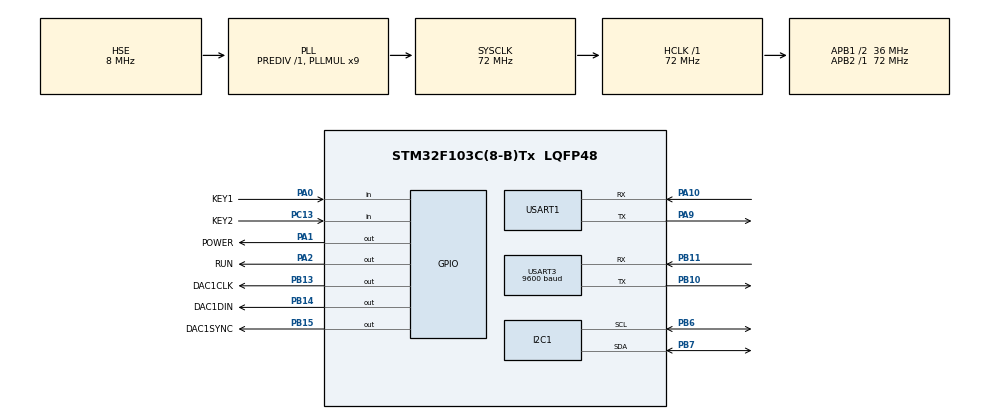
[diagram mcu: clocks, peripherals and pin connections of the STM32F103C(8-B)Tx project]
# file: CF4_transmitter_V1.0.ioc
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Mcu.Family=STM32F1
Mcu.Name=STM32F103C(8-B)Tx
Mcu.Package=LQFP48
NVIC.I2C1_ER_IRQn=true\:0\:0\:false\:false\:true\:true\:true\:true
NVIC.I2C1_EV_IRQn=true\:0\:0\:false\:false\:true\:true\:true\:true
NVIC.PriorityGroup=NVIC_PRIORITYGROUP_4
NVIC.USART1_IRQn=true\:0\:0\:false\:false\:true\:true\:true\:true
NVIC.USART3_IRQn=true\:0\:0\:false\:false\:true\:true\:true\:true
PA0-WKUP.GPIO_Label=KEY1
PA0-WKUP.GPIO_PuPd=GPIO_PULLUP
PA0-WKUP.Signal=GPIO_Input
PA1.GPIO_Label=POWER
PA1.GPIO_PuPd=GPIO_PULLDOWN
PA1.GPIO_Speed=GPIO_SPEED_FREQ_HIGH
PA1.PinState=GPIO_PIN_RESET
PA1.Signal=GPIO_Output
PA10.Mode=Asynchronous
PA10.Signal=USART1_RX
PA13.Mode=Serial_Wire
PA13.Signal=SYS_JTMS-SWDIO
PA14.Mode=Serial_Wire
PA14.Signal=SYS_JTCK-SWCLK
PA2.GPIO_Label=RUN
PA2.GPIO_PuPd=GPIO_PULLDOWN
PA2.GPIO_Speed=GPIO_SPEED_FREQ_HIGH
PA2.Signal=GPIO_Output
PA9.Mode=Asynchronous
PA9.Signal=USART1_TX
PB10.Mode=Asynchronous
PB10.Signal=USART3_TX
PB11.Mode=Asynchronous
PB11.Signal=USART3_RX
PB13.GPIO_Label=DAC1CLK
PB13.GPIO_Speed=GPIO_SPEED_FREQ_HIGH
PB13.PinState=GPIO_PIN_SET
PB13.Signal=GPIO_Output
PB14.GPIO_Label=DAC1DIN
PB14.GPIO_Speed=GPIO_SPEED_FREQ_HIGH
PB14.PinState=GPIO_PIN_SET
PB14.Signal=GPIO_Output
PB15.GPIO_Label=DAC1SYNC
PB15.GPIO_Speed=GPIO_SPEED_FREQ_HIGH
PB15.PinState=GPIO_PIN_SET
PB15.Signal=GPIO_Output
PB6.Mode=I2C
PB6.Signal=I2C1_SCL
PB7.Mode=I2C
PB7.Signal=I2C1_SDA
PC13-TAMPER-RTC.GPIO_Label=KEY2
PC13-TAMPER-RTC.GPIO_PuPd=GPIO_PULLUP
PC13-TAMPER-RTC.Signal=GPIO_Input
PD0-OSC_IN.Mode=HSE-External-Oscillator
PD0-OSC_IN.Signal=RCC_OSC_IN
PD1-OSC_OUT.Mode=HSE-External-Oscillator
PD1-OSC_OUT.Signal=RCC_OSC_OUT
ProjectManager.HeapSize=0x200
ProjectManager.StackSize=0x400
ProjectManager.TargetToolchain=MDK-ARM V5.32
RCC.AHBFreq_Value=72000000
RCC.APB1CLKDivider=RCC_HCLK_DIV2
RCC.APB1Freq_Value=36000000
RCC.APB1TimFreq_Value=72000000
RCC.APB2Freq_Value=72000000
RCC.APB2TimFreq_Value=72000000
RCC.HCLKFreq_Value=72000000
RCC.PLLMUL=RCC_PLL_MUL9
RCC.PLLSourceVirtual=RCC_PLLSOURCE_HSE
RCC.SYSCLKFreq_VALUE=72000000
RCC.SYSCLKSource=RCC_SYSCLKSOURCE_PLLCLK
RCC.USBFreq_Value=72000000
USART1.VirtualMode=VM_ASYNC
USART3.BaudRate=9600
USART3.VirtualMode=VM_ASYNC
board=custom

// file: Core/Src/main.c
/* USER CODE BEGIN Header */
/**
  ******************************************************************************
  * @file           : main.c
  * @brief          : 锟斤拷锟斤拷锟斤拷
  ******************************************************************************
  * @attention
  *
  * Copyright (c) 2025 STMicroelectronics.
  * All rights reserved.
  *
  * 锟斤拷锟斤拷锟绞癸拷玫锟斤拷锟斤拷锟斤拷锟斤拷锟斤拷诒锟斤拷锟斤拷锟斤拷锟斤拷母锟侥柯硷拷械锟絃ICENSE锟侥硷拷锟斤拷锟揭碉拷锟斤拷锟斤拷锟斤拷
  * 锟斤拷锟矫伙拷锟斤拷姹撅拷锟斤拷锟结供LICENSE锟侥硷拷锟斤拷锟斤拷"原锟斤拷"锟结供锟斤拷
  *
  ******************************************************************************
  */
/* USER CODE END Header */
#include "main.h"
#include "i2c.h"
#include "usart.h"
#include "gpio.h"

/* USER CODE BEGIN Includes */
#include <stdio.h>
#include <string.h>
#include "led.h"  // LED控制头文件
//#include "oled.h"  // OLED显示头文件（暂时禁用）
#include "sensor.h"  // 传感器相关头文件
#include "dac7311.h"  // DAC控制头文件
/* USER CODE END Includes */

/* USER CODE BEGIN PD */
#define SENSOR_UPDATE_INTERVAL   500       // 传感器数据更新间隔(ms)
#define DISPLAY_UPDATE_INTERVAL  1000      // 显示更新间隔(ms)
#define WARMUP_TIME              60000     // 预热时间(ms)，修改为60秒
#define DAC_VREF                 3.3f      // DAC参考电压（3.3V）
/* USER CODE END PD */

/* USER CODE BEGIN PV */
// 传感器相关变量
static SensorData_t sensorData = {0};       // 传感器数据结构体，初始化为0
static uint32_t lastSensorUpdateTime = 0;   // 上次传感器数据更新时间
//static uint32_t lastDisplayUpdateTime = 0;   // 上次显示更新时间（暂时禁用）

// 系统状态相关变量
static uint32_t warmupStartTime = 0;        // 预热开始时间
/* USER CODE END PV */

void SystemClock_Config(void);

/* USER CODE BEGIN PFP */
// 函数声明
//static void UpdateDisplay(SensorData_t *data);  // 显示更新函数声明（暂时禁用）
/* USER CODE END PFP */

int main(void)
{

  /* MCU Configuration--------------------------------------------------------*/
  HAL_Init();
  SystemClock_Config();

  /* Initialize all configured peripherals */
  MX_GPIO_Init();  // 初始化所有GPIO
  MX_I2C1_Init();  // 初始化I2C1
  MX_USART1_UART_Init();  // 初始化USART1，用于调试输出
  MX_USART3_UART_Init();  // 初始化USART3，用于传感器通信

  /* USER CODE BEGIN 2 */
  // 初始化LED
  LED_Init();  // 初始化LED控制模块
  LED_UpdateState(SYSTEM_INIT);  // 设置LED为初始化状态，LED1闪烁，LED2熄灭

  // 记录预热开始时间
  warmupStartTime = HAL_GetTick();  // 记录预热开始时间

  /* 注释掉OLED初始化相关代码 */

  // 初始化DAC7311
  printf("初始化DAC7311...\r\n");
  if (DAC7311_Init() != 0) {
    printf("DAC7311初始化失败!\r\n");
    LED_UpdateState(SYSTEM_ERROR);  // 错误状态：LED1闪烁，LED2熄灭
    while(1) {
      LED_UpdateState(SYSTEM_ERROR);
      HAL_Delay(10);
    }
  }
  printf("DAC7311初始化完成\r\n");

  // 初始化时设置DAC输出为0
  DAC7311_SetValue(0);

  // 初始化传感器
  printf("初始化传感器...\r\n");
  if (Sensor_Init() != 0) {
    printf("传感器初始化失败! 错误代码: %d\r\n", Sensor_GetLastError());
    LED_UpdateState(SYSTEM_ERROR);  // 错误状态：LED1闪烁，LED2熄灭
    while(1) {
      LED_UpdateState(SYSTEM_ERROR);
      HAL_Delay(10);
    }
  }
  printf("传感器初始化完成\r\n");

  // 在初始化阶段保持LED状态更新
  uint32_t currentTime = HAL_GetTick();
  printf("开始初始化阶段检查...\r\n");
  while(currentTime - warmupStartTime < 1000)
  {
    printf("检查传感器通信...\r\n");
    if (Sensor_CheckConnection() != 0)
    {
      printf("传感器通信失败!\r\n");
      LED_UpdateState(SYSTEM_ERROR);  // 错误状态：LED1闪烁，LED2熄灭
      while(1) {
        LED_UpdateState(SYSTEM_ERROR);
        HAL_Delay(10);
      }
    }
    printf("传感器通信正常\r\n");
    LED_UpdateState(SYSTEM_INIT);  // 初始化状态：LED1闪烁，LED2熄灭
    currentTime = HAL_GetTick();
    HAL_Delay(100);
  }
  printf("初始化阶段检查完成\r\n");

  // 进入预热阶段
  LED_UpdateState(SYSTEM_WARMUP);  // 预热状态：LED1常亮，LED2闪烁

  // 等待预热完成
  while(HAL_GetTick() - warmupStartTime < WARMUP_TIME) {
    LED_UpdateState(SYSTEM_WARMUP);  // 保持更新LED状态
    HAL_Delay(100);
  }

  // 预热完成，进入正常工作状态
  LED_UpdateState(SYSTEM_WORKING);  // 工作状态：LED1常亮，LED2由DAC更新控制
  printf("系统预热完成，开始正常工作\r\n");

  /* USER CODE END 2 */

  /* Infinite loop */
  while (1)
  {

    /* USER CODE BEGIN 3 */
    currentTime = HAL_GetTick();

    // 更新传感器数据
    if(currentTime - lastSensorUpdateTime >= SENSOR_UPDATE_INTERVAL)
    {
      // 更新所有传感器数据
      if(Sensor_UpdateAllData(&sensorData) != 0)
      {
        printf("传感器数据更新失败!\r\n");
        LED_UpdateState(SYSTEM_ERROR);  // 错误状态：LED1闪烁，LED2熄灭
      }
      else
      {
        LED_UpdateState(SYSTEM_WORKING);  // 工作状态：LED1常亮，LED2由DAC更新控制
        printf("[DAC] 当前输出值: %d\r\n", sensorData.outputValue);
      }

      lastSensorUpdateTime = currentTime;
    }

    HAL_Delay(10);  // 短暂延时，避免CPU占用过高
  }
  /* USER CODE END 3 */
}

/* 注释掉UpdateDisplay函数实现
static void UpdateDisplay(SensorData_t *data)
{
    if (data == NULL) {
        return;
    }

    OLED_Clear();
    char buf[32];

    sprintf(buf, "PPM:%d", data->concentration);
    OLED_ShowString(0, 0, buf);

    sprintf(buf, "DAC:%d", data->outputValue);
    OLED_ShowString(0, 2, buf);

    sprintf(buf, "V:%.2fV", data->outputVoltage);
    OLED_ShowString(0, 4, buf);

    sprintf(buf, "I:%.2fmA", data->outputCurrent);
    OLED_ShowString(0, 6, buf);

    OLED_Refresh();
}
*/

void SystemClock_Config(void)
{
  RCC_OscInitTypeDef RCC_OscInitStruct = {0};
  RCC_ClkInitTypeDef RCC_ClkInitStruct = {0};

  /** Initializes the RCC Oscillators according to the specified parameters
  * in the RCC_OscInitTypeDef structure.
  */
  RCC_OscInitStruct.OscillatorType = RCC_OSCILLATORTYPE_HSE;
  RCC_OscInitStruct.HSEState = RCC_HSE_ON;
  RCC_OscInitStruct.HSEPredivValue = RCC_HSE_PREDIV_DIV1;
  RCC_OscInitStruct.HSIState = RCC_HSI_ON;
  RCC_OscInitStruct.PLL.PLLState = RCC_PLL_ON;
  RCC_OscInitStruct.PLL.PLLSource = RCC_PLLSOURCE_HSE;
  RCC_OscInitStruct.PLL.PLLMUL = RCC_PLL_MUL9;
  if (HAL_RCC_OscConfig(&RCC_OscInitStruct) != HAL_OK)
  {
    Error_Handler();
  }

  /** Initializes the CPU, AHB and APB buses clocks
  */
  RCC_ClkInitStruct.ClockType = RCC_CLOCKTYPE_HCLK|RCC_CLOCKTYPE_SYSCLK
                              |RCC_CLOCKTYPE_PCLK1|RCC_CLOCKTYPE_PCLK2;
  RCC_ClkInitStruct.SYSCLKSource = RCC_SYSCLKSOURCE_PLLCLK;
  RCC_ClkInitStruct.AHBCLKDivider = RCC_SYSCLK_DIV1;
  RCC_ClkInitStruct.APB1CLKDivider = RCC_HCLK_DIV2;
  RCC_ClkInitStruct.APB2CLKDivider = RCC_HCLK_DIV1;

  if (HAL_RCC_ClockConfig(&RCC_ClkInitStruct, FLASH_LATENCY_2) != HAL_OK)
  {
    Error_Handler();
  }
}

void Error_Handler(void)
{
  /* USER CODE BEGIN Error_Handler_Debug */
  /* 锟矫伙拷锟斤拷锟斤拷锟斤拷锟斤拷约锟斤拷锟绞碉拷锟斤拷锟斤拷锟斤拷锟紿AL锟斤拷锟襟返伙拷状态 */
  __disable_irq();
  while (1)
  {
  }
  /* USER CODE END Error_Handler_Debug */
}

#ifdef  USE_FULL_ASSERT
/**
  * @brief  Reports the name of the source file and the source line number
  *         where the assert_param error has occurred.
  * @param  file: pointer to the source file name
  * @param  line: assert_param error line source number
  * @retval None
  */
void assert_failed(uint8_t *file, uint32_t line)
{
  /* USER CODE BEGIN 6 */
  /* 锟矫伙拷锟斤拷锟斤拷锟斤拷锟斤拷约锟斤拷锟绞碉拷锟斤拷锟斤拷锟斤拷锟斤拷募锟斤拷锟斤拷锟斤拷泻牛锟??
     锟斤拷锟界：printf("锟斤拷锟斤拷锟斤拷锟斤拷值锟斤拷锟侥硷拷%s锟斤拷锟斤拷%d\r\n", file, line) */
  /* USER CODE END 6 */
}
#endif /* USE_FULL_ASSERT */
